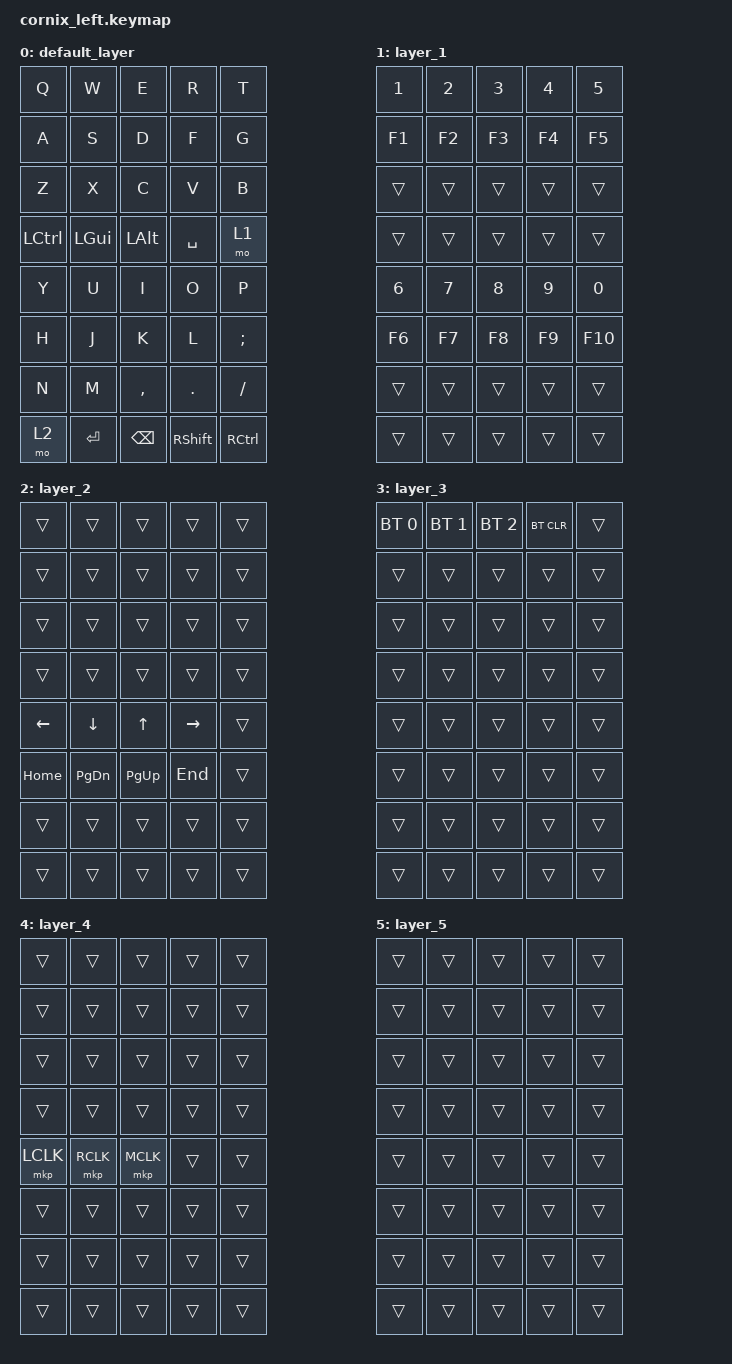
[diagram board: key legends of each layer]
/*
 * Cornix Left (親機) + roBa Right (子機) 統合キーマップ
 * 左手: Cornix 50キー
 * 右手: roBa 41キー + PMW3610トラックボール
 *
 * 注意: このキーマップはcornix.keymapをベースにしています
 * トラックボール設定はroBa_R.overlayで行います
 */

#include "cornix.keymap"

/ {
    keymap {
        compatible = "zmk,keymap";

        // レイヤー0: デフォルトレイヤー
        default_layer {
            bindings = <
                // Cornix Left (50キー)
                &kp Q &kp W &kp E &kp R &kp T
                &kp A &kp S &kp D &kp F &kp G
                &kp Z &kp X &kp C &kp V &kp B
                &kp LCTRL &kp LGUI &kp LALT &kp SPACE &mo 1
                
                // roBa Right (41キー)
                &kp Y &kp U &kp I &kp O &kp P
                &kp H &kp J &kp K &kp L &kp SEMI
                &kp N &kp M &kp COMMA &kp DOT &kp SLASH
                &mo 2 &kp ENTER &kp BSPC &kp RSHIFT &kp RCTRL
            >;
        };

        // レイヤー1: 左手レイヤー
        layer_1 {
            bindings = <
                &kp N1 &kp N2 &kp N3 &kp N4 &kp N5
                &kp F1 &kp F2 &kp F3 &kp F4 &kp F5
                &trans &trans &trans &trans &trans
                &trans &trans &trans &trans &trans
                
                &kp N6 &kp N7 &kp N8 &kp N9 &kp N0
                &kp F6 &kp F7 &kp F8 &kp F9 &kp F10
                &trans &trans &trans &trans &trans
                &trans &trans &trans &trans &trans
            >;
        };

        // レイヤー2: 右手レイヤー
        layer_2 {
            bindings = <
                &trans &trans &trans &trans &trans
                &trans &trans &trans &trans &trans
                &trans &trans &trans &trans &trans
                &trans &trans &trans &trans &trans
                
                &kp LEFT &kp DOWN &kp UP &kp RIGHT &trans
                &kp HOME &kp PG_DN &kp PG_UP &kp END &trans
                &trans &trans &trans &trans &trans
                &trans &trans &trans &trans &trans
            >;
        };

        // レイヤー3: Bluetooth/システムレイヤー
        layer_3 {
            bindings = <
                &bt BT_SEL 0 &bt BT_SEL 1 &bt BT_SEL 2 &bt BT_CLR &trans
                &trans &trans &trans &trans &trans
                &trans &trans &trans &trans &trans
                &trans &trans &trans &trans &trans
                
                &trans &trans &trans &trans &trans
                &trans &trans &trans &trans &trans
                &trans &trans &trans &trans &trans
                &trans &trans &trans &trans &trans
            >;
        };

        // レイヤー4: マウスレイヤー
        layer_4 {
            bindings = <
                &trans &trans &trans &trans &trans
                &trans &trans &trans &trans &trans
                &trans &trans &trans &trans &trans
                &trans &trans &trans &trans &trans
                
                &mkp LCLK &mkp RCLK &mkp MCLK &trans &trans
                &trans &trans &trans &trans &trans
                &trans &trans &trans &trans &trans
                &trans &trans &trans &trans &trans
            >;
        };

        // レイヤー5: スクロールレイヤー（トラックボールがスクロールモードになる）
        layer_5 {
            bindings = <
                &trans &trans &trans &trans &trans
                &trans &trans &trans &trans &trans
                &trans &trans &trans &trans &trans
                &trans &trans &trans &trans &trans
                
                &trans &trans &trans &trans &trans
                &trans &trans &trans &trans &trans
                &trans &trans &trans &trans &trans
                &trans &trans &trans &trans &trans
            >;
        };
    };
};
